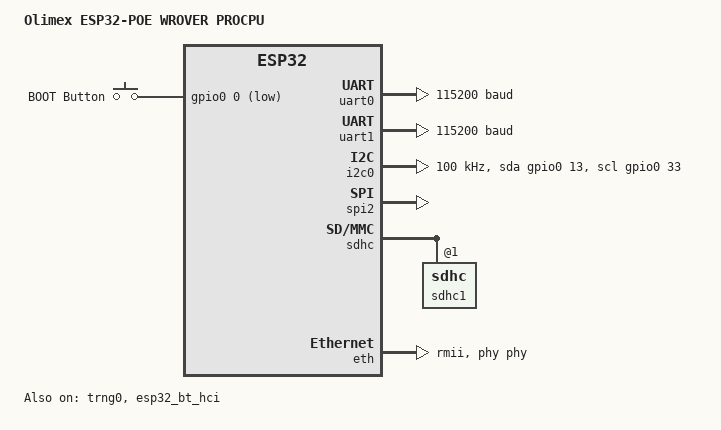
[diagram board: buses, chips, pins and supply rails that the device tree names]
/*
 * Copyright (c) 2023 Espressif Systems (Shanghai) Co., Ltd.
 *
 * SPDX-License-Identifier: Apache-2.0
 */
/dts-v1/;

#include <espressif/esp32/esp32_wrover_e_n4r8.dtsi>
#include "esp32_poe_wrover-pinctrl.dtsi"
#include <zephyr/dt-bindings/input/input-event-codes.h>
#include <zephyr/dt-bindings/input/esp32-touch-sensor-input.h>
#include <espressif/partitions_0x1000_amp.dtsi>

/ {
	model = "Olimex ESP32-POE WROVER PROCPU";
	compatible = "espressif,esp32";

	aliases {
		uart-0 = &uart0;
		i2c-0 = &i2c0;
		sw0 = &button0;
		watchdog0 = &wdt0;
		sdhc0 = &sdhc1;
	};

	buttons {
		compatible = "gpio-keys";
		button0: button_0 {
			gpios = <&gpio0 0 (GPIO_PULL_UP | GPIO_ACTIVE_LOW)>;
			label = "BOOT Button";
			zephyr,code = <INPUT_KEY_0>;
		};
	};

	chosen {
		zephyr,sram = &sram1;
		zephyr,console = &uart0;
		zephyr,shell-uart = &uart0;
		zephyr,flash = &flash0;
		zephyr,code-partition = &slot0_partition;
		zephyr,bt-hci = &esp32_bt_hci;
		zephyr,sdhc = &sdhc1;
	};
};

&uart0 {
	status = "okay";
	current-speed = <115200>;
	pinctrl-0 = <&uart0_default>;
	pinctrl-names = "default";
};

&uart1 {
	current-speed = <115200>;
	pinctrl-0 = <&uart1_default>;
	pinctrl-names = "default";
};

&gpio0 {
	status = "okay";
};

&gpio1 {
	status = "okay";
};

&touch {
	debounce-interval-ms = <30>;
	href-microvolt = <2700000>;
	lref-microvolt = <500000>;
	href-atten-microvolt = <1000000>;
	filter-mode = <ESP32_TOUCH_FILTER_MODE_IIR_16>;
	filter-debounce-cnt = <1>;
	filter-noise-thr = <ESP32_TOUCH_FILTER_NOISE_THR_4_8TH>;
	filter-jitter-step = <4>;
	filter-smooth-level = <ESP32_TOUCH_FILTER_SMOOTH_MODE_IIR_2>;
};

&i2c0 {
	status = "okay";
	clock-frequency = <I2C_BITRATE_STANDARD>;
	sda-gpios = <&gpio0 13 GPIO_OPEN_DRAIN>;
	scl-gpios = <&gpio0 33 GPIO_OPEN_DRAIN>;
	pinctrl-0 = <&i2c0_default>;
	pinctrl-names = "default";
};

&spi2 {
	status = "disabled";
	#address-cells = <1>;
	#size-cells = <0>;
	status = "okay";
	pinctrl-0 = <&spim2_default>;
	pinctrl-names = "default";
};


// Native SD controller (SDMMC) configuration
// Note: GPIO14 (CLK) and GPIO15 (CMD) conflict with SPI2 configuration above.
// Disable SPI2 if you need to use the SD controller.
&sdhc {
	sdhc1: sdhc@1 {
		status = "okay";

		pinctrl-0 = <&sdhc0_default>;
		pinctrl-names = "default";
		power-delay-ms = <100>;
		max-bus-freq = <52000000>;
		bus-width = <1>;

		clk-pin = <14>;
		cmd-pin = <15>;
		d0-pin = <2>;

		mmc {
			compatible = "zephyr,sdmmc-disk";
			disk-name = "SD";
			status = "okay";
		};
	};
};

&timer0 {
	status = "disabled";
};

&timer1 {
	status = "disabled";
};

&timer2 {
	status = "disabled";
};

&timer3 {
	status = "disabled";
};

&trng0 {
	status = "okay";
};

&esp32_bt_hci {
	status = "okay";
};

// The following note is found in the ESP32-POE user manual:
// WROVER module uses two extra ESP32 pins for the PSRAM and these pins can’t be used for other
// purposes. This is important especially if you switch from regular version to WROVER version. This is
// easily noticeable in the middle of the schematic. GPIO16 and GPIO17 are used by the PSRAM, so
// GPIO17 that was used for Ethernet clock was replaced by GPIO0 and GPIO16 was replaced by GPIO33.
// You should do the requires software changes in your code if you switch from ESP32-POE to WROVER
// version.

&mdio {
	pinctrl-0 = <&mdio_default>;
	pinctrl-names = "default";
	ref-clk-output-gpios = <&gpio0 0 0>;

	phy: ethernet-phy@0 {
		compatible = "ethernet-phy";
		status = "disabled";
		reg = <0>;
	};
};

&eth {
	phy-handle = <&phy>;
	phy-connection-type = "rmii";
	ref-clk-output-gpios = <&gpio0 0 0>;
};

&psram0 {
  size = <DT_SIZE_M(8)>;
};
